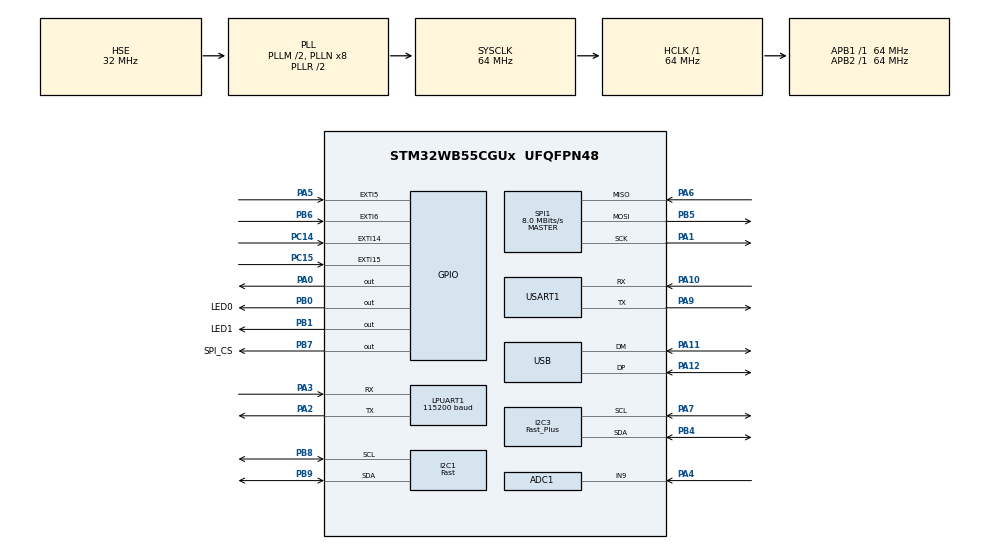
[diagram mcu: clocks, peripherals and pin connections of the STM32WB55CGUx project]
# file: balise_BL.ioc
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ADC1.Channel-0\#ChannelRegularConversion=ADC_CHANNEL_VREFINT
ADC1.Channel-1\#ChannelRegularConversion=ADC_CHANNEL_TEMPSENSOR
ADC1.Channel-2\#ChannelRegularConversion=ADC_CHANNEL_9
ADC1.ContinuousConvMode=ENABLE
ADC1.ExternalTrigConv=ADC_EXTERNALTRIG_T2_TRGO
ADC1.NbrOfConversion=3
ADC1.NbrOfConversionFlag=1
ADC1.OffsetNumber-0\#ChannelRegularConversion=ADC_OFFSET_NONE
ADC1.OffsetNumber-1\#ChannelRegularConversion=ADC_OFFSET_NONE
ADC1.OffsetNumber-2\#ChannelRegularConversion=ADC_OFFSET_NONE
ADC1.Rank-0\#ChannelRegularConversion=1
ADC1.Rank-1\#ChannelRegularConversion=2
ADC1.Rank-2\#ChannelRegularConversion=3
ADC1.SamplingTime-0\#ChannelRegularConversion=ADC_SAMPLETIME_640CYCLES_5
ADC1.SamplingTime-1\#ChannelRegularConversion=ADC_SAMPLETIME_640CYCLES_5
ADC1.SamplingTime-2\#ChannelRegularConversion=ADC_SAMPLETIME_640CYCLES_5
ADC1.master=1
Dma.ADC1.0.Direction=DMA_PERIPH_TO_MEMORY
Dma.ADC1.0.EventEnable=DISABLE
Dma.ADC1.0.Instance=DMA1_Channel1
Dma.ADC1.0.MemDataAlignment=DMA_MDATAALIGN_HALFWORD
Dma.ADC1.0.MemInc=DMA_MINC_ENABLE
Dma.ADC1.0.Mode=DMA_CIRCULAR
Dma.ADC1.0.PeriphDataAlignment=DMA_PDATAALIGN_HALFWORD
Dma.ADC1.0.PeriphInc=DMA_PINC_DISABLE
Dma.ADC1.0.Polarity=HAL_DMAMUX_REQ_GEN_RISING
Dma.ADC1.0.Priority=DMA_PRIORITY_LOW
Dma.ADC1.0.RequestNumber=1
Dma.ADC1.0.SignalID=NONE
Dma.ADC1.0.SyncEnable=DISABLE
Dma.ADC1.0.SyncPolarity=HAL_DMAMUX_SYNC_NO_EVENT
Dma.ADC1.0.SyncRequestNumber=1
Dma.ADC1.0.SyncSignalID=NONE
Dma.LPUART1_RX.1.Direction=DMA_PERIPH_TO_MEMORY
Dma.LPUART1_RX.1.EventEnable=DISABLE
Dma.LPUART1_RX.1.Instance=DMA1_Channel2
Dma.LPUART1_RX.1.MemDataAlignment=DMA_MDATAALIGN_BYTE
Dma.LPUART1_RX.1.MemInc=DMA_MINC_ENABLE
Dma.LPUART1_RX.1.Mode=DMA_CIRCULAR
Dma.LPUART1_RX.1.PeriphDataAlignment=DMA_PDATAALIGN_BYTE
Dma.LPUART1_RX.1.PeriphInc=DMA_PINC_DISABLE
Dma.LPUART1_RX.1.Polarity=HAL_DMAMUX_REQ_GEN_RISING
Dma.LPUART1_RX.1.Priority=DMA_PRIORITY_LOW
Dma.LPUART1_RX.1.RequestNumber=1
Dma.LPUART1_RX.1.SignalID=NONE
Dma.LPUART1_RX.1.SyncEnable=DISABLE
Dma.LPUART1_RX.1.SyncPolarity=HAL_DMAMUX_SYNC_NO_EVENT
Dma.LPUART1_RX.1.SyncRequestNumber=1
Dma.LPUART1_RX.1.SyncSignalID=NONE
Dma.Request0=ADC1
Dma.Request1=LPUART1_RX
I2C1.CustomTiming=Disabled
I2C1.I2C_Rise_Time=120
I2C1.I2C_Speed_Mode=I2C_Fast
I2C1.Timing=0x00E12363
I2C3.I2C_Speed_Mode=I2C_Fast_Plus
I2C3.Timing=0x00300B29
LPUART1.BaudRate=115200
Mcu.Family=STM32WB
Mcu.Name=STM32WB55CGUx
Mcu.Package=UFQFPN48
NVIC.DMA1_Channel1_IRQn=true\:4\:0\:true\:false\:true\:false\:true\:true
NVIC.DMA1_Channel2_IRQn=true\:2\:0\:true\:false\:true\:false\:true\:true
NVIC.EXTI15_10_IRQn=true\:1\:0\:true\:false\:true\:true\:true\:true
NVIC.HSEM_IRQn=true\:0\:0\:false\:false\:true\:false\:true\:true
NVIC.IPCC_C1_RX_IRQn=true\:0\:0\:false\:false\:true\:true\:true\:true
NVIC.IPCC_C1_TX_IRQn=true\:0\:0\:false\:false\:true\:true\:true\:true
NVIC.LPUART1_IRQn=true\:2\:0\:true\:false\:true\:true\:true\:true
NVIC.PriorityGroup=NVIC_PRIORITYGROUP_4
NVIC.RTC_WKUP_IRQn=true\:0\:0\:false\:false\:true\:true\:true\:true
NVIC.SPI1_IRQn=true\:3\:0\:true\:false\:true\:true\:true\:true
NVIC.TIM1_TRG_COM_TIM17_IRQn=true\:2\:0\:true\:false\:true\:true\:true\:true
NVIC.TIM1_UP_TIM16_IRQn=true\:4\:0\:true\:false\:true\:true\:true\:true
NVIC.USART1_IRQn=true\:0\:0\:false\:false\:true\:true\:true\:true
NVIC.USB_LP_IRQn=true\:5\:0\:true\:false\:true\:false\:true\:true
NimaLTD.I-CUBE-SPIF.2.3.2.DriverJjSPIF=true
NimaLTD.I-CUBE-SPIF.2.3.2.SPIF_PLATFORM=SPIF_PLATFORM_HAL
OSC_IN.Mode=HSE-External-Oscillator
OSC_IN.Signal=RCC_OSC_IN
OSC_OUT.Mode=HSE-External-Oscillator
OSC_OUT.Signal=RCC_OSC_OUT
PA0.Signal=GPIO_Output
PA1.Mode=Full_Duplex_Master
PA1.Signal=SPI1_SCK
PA10.Mode=Asynchronous
PA10.Signal=USART1_RX
PA11.Mode=Device
PA11.Signal=USB_DM
PA12.Mode=Device
PA12.Signal=USB_DP
PA13.Mode=Trace_Asynchronous_SW
PA13.Signal=SYS_JTMS-SWDIO
PA14.Mode=Trace_Asynchronous_SW
PA14.Signal=SYS_JTCK-SWCLK
PA2.Mode=Asynchronous
PA2.Signal=LPUART1_TX
PA3.Mode=Asynchronous
PA3.Signal=LPUART1_RX
PA4.Signal=ADCx_IN9
PA5.Signal=GPXTI5
PA6.Mode=Full_Duplex_Master
PA6.Signal=SPI1_MISO
PA7.Mode=I2C
PA7.Signal=I2C3_SCL
PA9.Mode=Asynchronous
PA9.Signal=USART1_TX
PB0.GPIO_Label=LED0
PB0.Signal=GPIO_Output
PB1.GPIO_Label=LED1
PB1.Signal=GPIO_Output
PB3.Mode=Trace_Asynchronous_SW
PB3.Signal=SYS_JTDO-SWO
PB4.Mode=I2C
PB4.Signal=I2C3_SDA
PB5.Mode=Full_Duplex_Master
PB5.Signal=SPI1_MOSI
PB6.Signal=GPXTI6
PB7.GPIO_Label=SPI_CS
PB7.Signal=GPIO_Output
PB8.Mode=I2C
PB8.Signal=I2C1_SCL
PB9.Mode=I2C
PB9.Signal=I2C1_SDA
PC14-OSC32_IN.GPIO_ModeDefaultEXTI=GPIO_MODE_IT_RISING_FALLING
PC14-OSC32_IN.Signal=GPXTI14
PC15-OSC32_OUT.GPIO_ModeDefaultEXTI=GPIO_MODE_IT_RISING_FALLING
PC15-OSC32_OUT.Signal=GPXTI15
ProjectManager.HeapSize=0x200
ProjectManager.StackSize=0x400
ProjectManager.TargetToolchain=STM32CubeIDE
RCC.ADCFreq_Value=48000000
RCC.AHB2CLKDivider=RCC_SYSCLK_DIV2
RCC.AHBFreq_Value=64000000
RCC.APB1Freq_Value=64000000
RCC.APB1TimFreq_Value=64000000
RCC.APB2Freq_Value=64000000
RCC.APB2TimFreq_Value=64000000
RCC.APB3Freq_Value=16000000
RCC.CortexFreq_Value=64000000
RCC.HCLKFreq_Value=64000000
RCC.HSE_VALUE=32000000
RCC.HSI48_VALUE=48000000
RCC.HSI_VALUE=16000000
RCC.LPUART1CLockSelection=RCC_LPUART1CLKSOURCE_HSI
RCC.LSE_VALUE=32768
RCC.MSIClockRange=RCC_MSIRANGE_10
RCC.PLLM=RCC_PLLM_DIV2
RCC.PLLSAI1N=6
RCC.PLLSourceVirtual=RCC_PLLSOURCE_HSE
RCC.RTCClockSelection=RCC_RTCCLKSOURCE_HSE_DIV32
RCC.SYSCLKFreq_VALUE=64000000
RCC.SYSCLKSource=RCC_SYSCLKSOURCE_PLLCLK
RCC.USBFreq_Value=48000000
RCC.VCOOutputFreq_Value=128000000
RF1.Mode=RF1_Activate
RF1.Signal=RF_RF1
RTC.WakeUpClock-WakeUp=RTC_WAKEUPCLOCK_CK_SPRE_16BITS
SH.ADCx_IN9.0=ADC1_IN9,IN9-Single-Ended
SPI1.BaudRatePrescaler=SPI_BAUDRATEPRESCALER_8
SPI1.CalculateBaudRate=8.0 MBits/s
SPI1.DataSize=SPI_DATASIZE_8BIT
SPI1.Direction=SPI_DIRECTION_2LINES
SPI1.Mode=SPI_MODE_MASTER
SPI1.VirtualType=VM_MASTER
STM32_WPAN.ADV_TYPE=ADV_IND
STM32_WPAN.AD_TYPE_COMPLETE_LOCAL_NAME=BALISEGPS
STM32_WPAN.AD_TYPE_COMPLETE_LOCAL_NAME_LENGTH=10
STM32_WPAN.BLE_APPLICATION_TYPE=BLE_SERVER_PROFILE
STM32_WPAN.BLE_CFG_HTS_INTERMEDIATE_TEMPERATURE=0
STM32_WPAN.BLE_STACK=FULL
STM32_WPAN.CFG_GAP_DEVICE_NAME=BALISE
STM32_WPAN.CFG_RTCCLK_DIVIDER_CONF=0
STM32_WPAN.CFG_RTC_ASYNCH_PRESCALER=127
STM32_WPAN.CFG_RTC_SYNCH_PRESCALER=7812
STM32_WPAN.CFG_TX_POWER=(0x09) /* -12.05dBm */
STM32_WPAN.CUSTOM_P2P_SERVER=Disabled
STM32_WPAN.CUSTOM_TEMPLATE=Enabled
STM32_WPAN.GAP_BROADCASTER_ROLE=0
STM32_WPAN.GAP_CENTRAL_ROLE=0
STM32_WPAN.GAP_PERIPHERAL_ROLE=0
STM32_WPAN.INCLUDE_AD_TYPE_COMPLETE_LOCAL_NAME=1
STM32_WPAN.INCLUDE_AD_TYPE_TX_POWER_LEVEL=1
STM32_WPAN.L2CAP_REQUEST_NEW_CONN_PARAM=0
STM32_WPAN.NUMBER_OF_SERVICES=1
STM32_WPAN.SERVICE1_CHAR1_GATT_NOTIFY_READ_REQ_AND_WAIT_FOR_APPL_RESP=\ 
STM32_WPAN.SERVICE1_CHAR1_GATT_NOTIFY_WRITE_REQ_AND_WAIT_FOR_APPL_RESP=\ 
STM32_WPAN.SERVICE1_CHAR1_LENGTH_CHARACTERISTIC=CHAR_VALUE_LEN_CONSTANT
STM32_WPAN.SERVICE1_CHAR1_LONG_NAME=charWrite
STM32_WPAN.SERVICE1_CHAR1_PROP_WRITE=CHAR_PROP_WRITE
STM32_WPAN.SERVICE1_CHAR1_SHORT_NAME=CharWrite
STM32_WPAN.SERVICE1_CHAR1_VALUE_LENGTH=64
STM32_WPAN.SERVICE1_CHAR2_LONG_NAME=sendnum
STM32_WPAN.SERVICE1_CHAR2_PROP_NOTIFY=CHAR_PROP_NOTIFY
STM32_WPAN.SERVICE1_CHAR2_SHORT_NAME=sendnum
STM32_WPAN.SERVICE1_CHAR2_UUID=00 01
STM32_WPAN.SERVICE1_CHAR2_VALUE_LENGTH=1
STM32_WPAN.SERVICE1_LONG_NAME=bpservice
STM32_WPAN.SERVICE1_NUMBER_OF_CHARACTERISTICS=1
STM32_WPAN.SERVICE1_SHORT_NAME=bpservice
TIM16.Period=1000-1
TIM16.Prescaler=64000-1
TIM17.Period=1000-1
TIM17.Prescaler=64000-1
TIM2.Period=1000-1
TIM2.Prescaler=6400-1
TIM2.TIM_MasterOutputTrigger=TIM_TRGO_UPDATE
USART1.VirtualMode-Asynchronous=VM_ASYNC
USB_DEVICE.CLASS_NAME_FS=CDC
USB_DEVICE.VirtualMode=Cdc
USB_DEVICE.VirtualModeFS=Cdc_FS
VP_ADC1_TempSens_Input.Mode=IN-TempSens
VP_ADC1_Vref_Input.Mode=IN-Vrefint
VP_HSEM_VS_HSEM.Mode=HSEM_Activate
VP_IPCC_VS_IPCC.Mode=IPCC_Activate
VP_MEMORYMAP_VS_MEMORYMAP.Mode=CurAppReg
VP_NimaLTD.I-CUBE-SPIF_VS_DriverJjSPIF_1.0.0_2.3.2.Mode=DriverJjSPIF
VP_RTC_VS_RTC_Activate.Mode=RTC_Enabled
VP_RTC_VS_RTC_Calendar.Mode=RTC_Calendar
VP_RTC_VS_RTC_WakeUp_intern.Mode=WakeUp
VP_SEQUENCER_VS_SEQUENCER.Mode=SEQUENCER_Enabled
VP_STM32_WPAN_VS_BLE_HOST.Mode=STM32_WPAN_Enabled
VP_TIM16_VS_ClockSourceINT.Mode=Enable_Timer
VP_TIM17_VS_ClockSourceINT.Mode=Enable_Timer
VP_TIM2_VS_ClockSourceINT.Mode=Internal
VP_TINY_LPM_VS_TINY_LPM.Mode=TINY_LPM_Enabled
VP_USB_DEVICE_VS_USB_DEVICE_CDC_FS.Mode=CDC_FS
board=custom

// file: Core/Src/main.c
/* USER CODE BEGIN Header */
/**
  ******************************************************************************
  * @file           : main.c
  * @brief          : Main program body
  ******************************************************************************
  * @attention
  *
  * Copyright (c) 2024 STMicroelectronics.
  * All rights reserved.
  *
  * This software is licensed under terms that can be found in the LICENSE file
  * in the root directory of this software component.
  * If no LICENSE file comes with this software, it is provided AS-IS.
  *
  ******************************************************************************
  */
/* USER CODE END Header */
#include "main.h"
#include "adc.h"
#include "dma.h"
#include "i2c.h"
#include "ipcc.h"
#include "usart.h"
#include "memorymap.h"
#include "rf.h"
#include "rtc.h"
#include "spi.h"
#include "tim.h"
#include "usb_device.h"
#include "gpio.h"

/* USER CODE BEGIN Includes */
#include "math.h"
#include "ssd1306.h"
#include "statemachine.h"
#include "nmea_parse.h"
#include "stm32wbxx_hal.h"
#include "spif.h"
#include "PADS.h"
/* USER CODE END Includes */

/* USER CODE BEGIN PV */
STATE_TYPE state=STATE_SPEED;
SPEED spdstate=STATE_GROS;
POS posstate=STATE_SUMMARY1;
CHRONO chronostate=STATE_RESET;
KEYBOARD keyboardstate=STATE_MARCHE;
USBSTATE usbstate=USBSTATE1;
BALISESTATE balisestate=BALISESTATE1;
TARVOSSTATE tarvosstate=TARVOS1;
BAROSTATE barostate=BARO1;

uint16_t oldPos = 0;
uint16_t newPos = 0;
uint8_t RxBuffer[RxBuffer_SIZE];
uint8_t DataBuffer[DataBuffer_SIZE];
GPS myData;
int BTN_A=0;
int BTN_B=0;

SPIF_HandleTypeDef hspif1;
extern SPI_HandleTypeDef hspi1;
extern TIM_HandleTypeDef htim16;
extern TIM_HandleTypeDef htim17;

const unsigned char startimg[] = {
		 0xff, 0xff, 0xff, 0xff, 0xff, 0xff, 0xff, 0xff, 0xff,
		  0xff, 0xff, 0xff, 0xff, 0xff, 0xff, 0xff, 0xff, 0xff,
		  0xc0, 0x00, 0x00, 0x00, 0x00, 0x00, 0x00, 0x00, 0x03,
		  0xc0, 0x00, 0x00, 0x00, 0x00, 0x00, 0x00, 0x03, 0x03,
		  0xc0, 0x00, 0x00, 0x00, 0x00, 0x00, 0x00, 0x02, 0x83,
		  0xc0, 0x00, 0x00, 0x00, 0x00, 0x00, 0x00, 0x02, 0x43,
		  0xc0, 0x00, 0x00, 0x00, 0x00, 0x00, 0x00, 0x12, 0x43,
		  0xc0, 0x00, 0x00, 0x00, 0x00, 0x00, 0x00, 0x0a, 0x83,
		  0xc0, 0x00, 0x00, 0x00, 0x00, 0x00, 0x00, 0x07, 0x03,
		  0xc0, 0x3e, 0x00, 0x00, 0x00, 0x00, 0x00, 0x02, 0x03,
		  0xc0, 0xff, 0x80, 0x00, 0x00, 0x00, 0x00, 0x07, 0x03,
		  0xc3, 0xff, 0xe0, 0x3f, 0x07, 0xf8, 0x3f, 0xca, 0x83,
		  0xc7, 0xff, 0xf0, 0x3f, 0x07, 0xf8, 0x3f, 0xd2, 0x43,
		  0xc7, 0xe3, 0xf0, 0x3f, 0x07, 0xf8, 0x3f, 0xc2, 0x43,
		  0xcf, 0xc1, 0xf9, 0xc0, 0x07, 0x07, 0x38, 0x02, 0x83,
		  0xcf, 0x80, 0xf9, 0xc0, 0x07, 0x07, 0x38, 0x03, 0x03,
		  0xcf, 0x80, 0xf9, 0xc0, 0x07, 0x07, 0x38, 0x00, 0x03,
		  0xcf, 0x80, 0xf9, 0xc0, 0x07, 0x07, 0x38, 0x00, 0x03,
		  0xcf, 0xc1, 0xf9, 0xc7, 0xe7, 0x07, 0x3f, 0xc0, 0x03,
		  0xcf, 0xe3, 0xf9, 0xc7, 0xe7, 0x07, 0x3f, 0xc0, 0x03,
		  0xc7, 0xff, 0xf1, 0xc7, 0xe7, 0xf8, 0x3f, 0xc0, 0x03,
		  0xc7, 0xff, 0xf1, 0xc0, 0xe7, 0xf8, 0x01, 0xc0, 0x03,
		  0xc3, 0xff, 0xe1, 0xc0, 0xe7, 0xf8, 0x01, 0xc0, 0x03,
		  0xc3, 0xff, 0xe1, 0xc0, 0xe7, 0x00, 0x01, 0xc0, 0x03,
		  0xc1, 0xff, 0xc1, 0xc0, 0xe7, 0x00, 0x01, 0xc0, 0x03,
		  0xc1, 0xff, 0x80, 0x3f, 0x07, 0x00, 0x3f, 0xc0, 0x03,
		  0xc0, 0xff, 0x80, 0x3f, 0x07, 0x00, 0x3f, 0xc0, 0x03,
		  0xc0, 0xff, 0x00, 0x3f, 0x07, 0x00, 0x3f, 0xc0, 0x03,
		  0xc0, 0x7f, 0x00, 0x00, 0x00, 0x00, 0x00, 0x00, 0x03,
		  0xc0, 0x7e, 0x00, 0x00, 0x00, 0x00, 0x00, 0x00, 0x03,
		  0xc0, 0x3e, 0x00, 0x00, 0x00, 0x22, 0x40, 0xf0, 0x03,
		  0xc0, 0x3c, 0x00, 0x00, 0x00, 0x22, 0xc0, 0x80, 0x03,
		  0xc0, 0x1c, 0x00, 0x00, 0x00, 0x14, 0x40, 0xe0, 0x03,
		  0xc0, 0x00, 0x00, 0x00, 0x00, 0x14, 0x40, 0x10, 0x03,
		  0xc0, 0x00, 0x00, 0x00, 0x00, 0x08, 0xe4, 0xe0, 0x03,
		  0xc0, 0x00, 0x00, 0x00, 0x00, 0x00, 0x00, 0x00, 0x03,
		  0xc0, 0x00, 0x00, 0x00, 0x00, 0x00, 0x00, 0x00, 0x03,
		  0xc0, 0x00, 0x00, 0x00, 0x00, 0x00, 0x00, 0x00, 0x03,
		  0xff, 0xff, 0xff, 0xff, 0xff, 0xff, 0xff, 0xff, 0xff,
		  0xff, 0xff, 0xff, 0xff, 0xff, 0xff, 0xff, 0xff, 0xff
		};

//const unsigned char startimg[] = {
//0x00, 0x00, 0x00, 0x00, 0x00, 0x00, 0x00, 0x00,
//0x7f, 0xff, 0xff, 0xff, 0xff, 0xff, 0xff, 0xfe,
//0x7f, 0xff, 0xff, 0xff, 0xff, 0xff, 0xfe, 0x3e,
//0x7f, 0xff, 0xff, 0xff, 0xff, 0xff, 0xf9, 0xce,
//0x7f, 0xff, 0xff, 0xff, 0xff, 0xff, 0xfa, 0x2e,
//0x7f, 0xfc, 0x1f, 0xff, 0xff, 0xff, 0xf6, 0xb6,
//0x7f, 0xf0, 0x07, 0xff, 0xff, 0xff, 0xf6, 0x76,
//0x7f, 0xc0, 0x01, 0xff, 0xff, 0xff, 0xfa, 0xae,
//0x7f, 0x80, 0x00, 0xff, 0xff, 0xff, 0xf9, 0xce,
//0x7f, 0x81, 0xc0, 0xff, 0xff, 0xff, 0xfe, 0x3e,
//0x7f, 0x03, 0xe0, 0x7f, 0xff, 0xff, 0xff, 0xfe,
//0x7f, 0x07, 0xf0, 0x7f, 0x0f, 0x03, 0xf0, 0x3e,
//0x7f, 0x07, 0xf0, 0x7f, 0x0f, 0x03, 0xf0, 0x3e,
//0x7f, 0x07, 0xf0, 0x7c, 0xff, 0x3c, 0xcf, 0xfe,
//0x7f, 0x03, 0xe0, 0x7c, 0xff, 0x3c, 0xcf, 0xfe,
//0x7f, 0x01, 0xc0, 0x7c, 0xc3, 0x03, 0xf0, 0xfe,
//0x7f, 0x80, 0x00, 0xfc, 0xc3, 0x03, 0xf0, 0xfe,
//0x7f, 0x80, 0x00, 0xfc, 0xf3, 0x3f, 0xff, 0x3e,
//0x7f, 0xc0, 0x01, 0xfc, 0xf3, 0x3f, 0xff, 0x3e,
//0x7f, 0xc0, 0x01, 0xff, 0x0f, 0x3f, 0xc0, 0xfe,
//0x7f, 0xe0, 0x03, 0xff, 0x0f, 0x3f, 0xc0, 0xfe,
//0x7f, 0xe0, 0x07, 0xff, 0xff, 0xff, 0xff, 0xfe,
//0x7f, 0xf0, 0x07, 0xff, 0xff, 0xff, 0xff, 0xfe,
//0x7f, 0xf0, 0x0f, 0xff, 0xff, 0x76, 0xfe, 0x7e,
//0x7f, 0xf8, 0x0f, 0xff, 0xff, 0x74, 0xfd, 0xbe,
//0x7f, 0xf8, 0x1f, 0xff, 0xff, 0xae, 0xfd, 0xbe,
//0x7f, 0xfc, 0x1f, 0xff, 0xff, 0xae, 0xfd, 0xbe,
//0x7f, 0xfc, 0x3f, 0xff, 0xff, 0xdc, 0x6e, 0x7e,
//0x7f, 0xfe, 0x3f, 0xff, 0xff, 0xff, 0xff, 0xfe,
//0x7f, 0xff, 0xff, 0xff, 0xff, 0xff, 0xff, 0xfe,
//0x7f, 0xff, 0xff, 0xff, 0xff, 0xff, 0xff, 0xfe,
//0x00, 0x00, 0x00, 0x00, 0x00, 0x00, 0x00, 0x00,
//};

uint16_t rawdata[3];
float temp=0.0;
float vrefint=0;
float vbat=0;

uint8_t flashwrite[256];
uint8_t flashread[256];
extern uint8_t indexbuffer[50];
int pageoffset=0;
int pagenumber=0;
int sectoreraseen=0;
uint8_t numbuf1[10];
uint8_t numbuf2[10];
uint8_t bufferscreen[50];
uint8_t longbufferscreen[256];
uint8_t usbbuffer[64];
uint16_t offsetforscroltext=0;
uint16_t scrolltextmax=0;

float vitmax=0.0;
float seconde=0;
float min=0;

uint32_t starttime=0;
uint32_t calctime=0;
uint32_t timehandler=0;
float t1=0;
float t2=0;
float t3=0;
float moy=0;
float framerate=0;
int flashbufferlen=0;

int erasetime=0;
int erasedisplay=0;
int usbtransmiten=0;
float usbpercent=0;

int doubledonnee=0;
int cptdoubledonnee=0;
double distanceparcouru=0;
double oldlat=0;
double oldlong=0;

int enablewrite=0;

double distance1sec=0;

uint8_t SEC=0;
uint8_t HR=0;
uint8_t MINUTE=0;
uint8_t JOURS=10;
uint8_t MOIS=11;
uint16_t ANNEE=2024;
MOIS_STATE mois=JANVIER;
int settimeen=0;

int boutonAtime=0;
int boutonBtime=0;
int tbtn1=0;
int tbtn2=0;
int BTN_B_LONG=0;
int BTN_A_LONG=0;

int bluetoothsend=0;
uint8_t blereceivebuf[256];
uint8_t bletransmitbuf[256];
uint8_t receivedtrame[64];

ECRANBALISESTATE ecranstate=ECRANBALISESTATE1;

HAL_StatusTypeDef barocheck=HAL_OK;

/* USER CODE END PV */

void SystemClock_Config(void);
void PeriphCommonClock_Config(void);

/* USER CODE BEGIN 0 */
void HAL_GPIO_EXTI_Callback(uint16_t GPIO_Pin)//lors d'un appuie sur un bouton, le systeme s'interrompt afin d'arriver dans cette fonction redefinie avec en parametre d'entre , le bouton sur lequel l'on a appuiyé
{
	if(GPIO_Pin==GPIO_PIN_14){

		if(HAL_GPIO_ReadPin(GPIOC,GPIO_PIN_14)== GPIO_PIN_RESET){

					boutonAtime=0;
					tbtn1=HAL_GetTick();

				}
				else{
					BTN_A++;

					boutonAtime=HAL_GetTick()-tbtn1;
					tbtn1=0;

				}

				if(boutonAtime>=400){
					BTN_A_LONG++;
					BTN_A=0;
				}

	}
	if(GPIO_Pin==GPIO_PIN_15){

		if(HAL_GPIO_ReadPin(GPIOC,GPIO_PIN_15)== GPIO_PIN_RESET){

			boutonBtime=0;
			tbtn2=HAL_GetTick();

		}
		else{
			BTN_B++;

			boutonBtime=HAL_GetTick()-tbtn2;
			tbtn2=0;

		}

		if(boutonBtime>=400){
			BTN_B_LONG++;
			BTN_B=0;
		}

	}
}
/* USER CODE END 0 */

int main(void)
{

  /* MCU Configuration--------------------------------------------------------*/

  /* Reset of all peripherals, Initializes the Flash interface and the Systick. */
  HAL_Init();
  /* Config code for STM32_WPAN (HSE Tuning must be done before system clock configuration) */
  MX_APPE_Config();

  /* Configure the system clock */
  SystemClock_Config();

  /* Configure the peripherals common clocks */
  PeriphCommonClock_Config();

  /* IPCC initialisation */
  MX_IPCC_Init();

  /* Initialize all configured peripherals */
  MX_RF_Init();
  MX_GPIO_Init();
  MX_DMA_Init();
  MX_ADC1_Init();
  MX_I2C1_Init();
  MX_I2C3_Init();
  MX_LPUART1_UART_Init();
  MX_TIM2_Init();
  MX_TIM16_Init();
  MX_TIM17_Init();
  MX_SPI1_Init();
  MX_USART1_UART_Init();
  MX_USB_Device_Init();
  MX_RTC_Init();
  /* USER CODE BEGIN 2 */

  	ssd1306_Init();

  	HAL_Delay(10);
  	ssd1306_Fill(Black);

  	ssd1306_DrawBitmap(31, 12, startimg, 72, 40, White);
  	ssd1306_UpdateScreen();

  	HAL_ADC_Start_DMA(&hadc1,(uint32_t*)rawdata, 3);
  	HAL_TIM_Base_Start(&htim2);
  	HAL_TIM_Base_Start_IT(&htim16);

  	HAL_GPIO_WritePin(GPIOA,GPIO_PIN_0,GPIO_PIN_SET);

  	HAL_Delay(100);
  	HAL_UART_Abort(&hlpuart1);
  	HAL_UART_Receive_DMA(&hlpuart1, (uint8_t *)RxBuffer, RxBuffer_SIZE);

  	memset(flashread,'1',256);
  	memset(flashwrite,'\0',256);
  	memset((uint8_t *)bufferscreen ,'\0',50);

  	SPIF_Init(&hspif1, &hspi1, GPIOB, GPIO_PIN_7);

  	getindex();

  	barocheck=PADS_continuous_init(&hi2c1);

  	ssd1306_Fill(Black);

  	state=STATE_SPEED;
  	BTN_A=0;
  	BTN_A_LONG=0;

  	HAL_Delay(700);

  	//LL_HSEM_1StepLock( HSEM, 5 );
  /* USER CODE END 2 */

  /* Init code for STM32_WPAN */
  MX_APPE_Init();

  /* Infinite loop */
  while (1)
  {
    MX_APPE_Process();

    /* USER CODE BEGIN 3 */
	  statemachine();
	  ssd1306_UpdateScreen();
  }
  /* USER CODE END 3 */
}

void SystemClock_Config(void)
{
  RCC_OscInitTypeDef RCC_OscInitStruct = {0};
  RCC_ClkInitTypeDef RCC_ClkInitStruct = {0};

  /** Configure the main internal regulator output voltage
  */
  __HAL_PWR_VOLTAGESCALING_CONFIG(PWR_REGULATOR_VOLTAGE_SCALE1);

  /** Initializes the RCC Oscillators according to the specified parameters
  * in the RCC_OscInitTypeDef structure.
  */
  RCC_OscInitStruct.OscillatorType = RCC_OSCILLATORTYPE_HSI|RCC_OSCILLATORTYPE_HSE;
  RCC_OscInitStruct.HSEState = RCC_HSE_ON;
  RCC_OscInitStruct.HSIState = RCC_HSI_ON;
  RCC_OscInitStruct.HSICalibrationValue = RCC_HSICALIBRATION_DEFAULT;
  RCC_OscInitStruct.PLL.PLLState = RCC_PLL_ON;
  RCC_OscInitStruct.PLL.PLLSource = RCC_PLLSOURCE_HSE;
  RCC_OscInitStruct.PLL.PLLM = RCC_PLLM_DIV2;
  RCC_OscInitStruct.PLL.PLLN = 8;
  RCC_OscInitStruct.PLL.PLLP = RCC_PLLP_DIV2;
  RCC_OscInitStruct.PLL.PLLR = RCC_PLLR_DIV2;
  RCC_OscInitStruct.PLL.PLLQ = RCC_PLLQ_DIV2;
  if (HAL_RCC_OscConfig(&RCC_OscInitStruct) != HAL_OK)
  {
    Error_Handler();
  }

  /** Configure the SYSCLKSource, HCLK, PCLK1 and PCLK2 clocks dividers
  */
  RCC_ClkInitStruct.ClockType = RCC_CLOCKTYPE_HCLK4|RCC_CLOCKTYPE_HCLK2
                              |RCC_CLOCKTYPE_HCLK|RCC_CLOCKTYPE_SYSCLK
                              |RCC_CLOCKTYPE_PCLK1|RCC_CLOCKTYPE_PCLK2;
  RCC_ClkInitStruct.SYSCLKSource = RCC_SYSCLKSOURCE_PLLCLK;
  RCC_ClkInitStruct.AHBCLKDivider = RCC_SYSCLK_DIV1;
  RCC_ClkInitStruct.APB1CLKDivider = RCC_HCLK_DIV1;
  RCC_ClkInitStruct.APB2CLKDivider = RCC_HCLK_DIV1;
  RCC_ClkInitStruct.AHBCLK2Divider = RCC_SYSCLK_DIV2;
  RCC_ClkInitStruct.AHBCLK4Divider = RCC_SYSCLK_DIV1;

  if (HAL_RCC_ClockConfig(&RCC_ClkInitStruct, FLASH_LATENCY_3) != HAL_OK)
  {
    Error_Handler();
  }
}

void PeriphCommonClock_Config(void)
{
  RCC_PeriphCLKInitTypeDef PeriphClkInitStruct = {0};

  /** Initializes the peripherals clock
  */
  PeriphClkInitStruct.PeriphClockSelection = RCC_PERIPHCLK_SMPS|RCC_PERIPHCLK_RFWAKEUP
                              |RCC_PERIPHCLK_USB|RCC_PERIPHCLK_ADC;
  PeriphClkInitStruct.PLLSAI1.PLLN = 6;
  PeriphClkInitStruct.PLLSAI1.PLLP = RCC_PLLP_DIV2;
  PeriphClkInitStruct.PLLSAI1.PLLQ = RCC_PLLQ_DIV2;
  PeriphClkInitStruct.PLLSAI1.PLLR = RCC_PLLR_DIV2;
  PeriphClkInitStruct.PLLSAI1.PLLSAI1ClockOut = RCC_PLLSAI1_USBCLK|RCC_PLLSAI1_ADCCLK;
  PeriphClkInitStruct.UsbClockSelection = RCC_USBCLKSOURCE_PLLSAI1;
  PeriphClkInitStruct.AdcClockSelection = RCC_ADCCLKSOURCE_PLLSAI1;
  PeriphClkInitStruct.RFWakeUpClockSelection = RCC_RFWKPCLKSOURCE_HSE_DIV1024;
  PeriphClkInitStruct.SmpsClockSelection = RCC_SMPSCLKSOURCE_HSI;
  PeriphClkInitStruct.SmpsDivSelection = RCC_SMPSCLKDIV_RANGE1;

  if (HAL_RCCEx_PeriphCLKConfig(&PeriphClkInitStruct) != HAL_OK)
  {
    Error_Handler();
  }
  /* USER CODE BEGIN Smps */
  LL_HSEM_1StepLock( HSEM, 5 );

  /* USER CODE END Smps */
}

void Error_Handler(void)
{
  __disable_irq();
  while (1)
  {
  }
}
